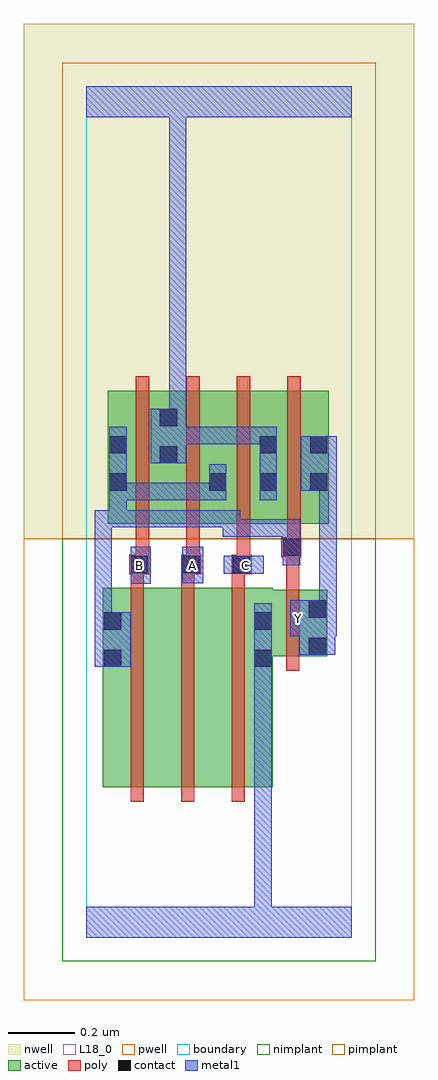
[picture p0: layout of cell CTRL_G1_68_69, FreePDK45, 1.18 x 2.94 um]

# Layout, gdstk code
import gdstk
lib = gdstk.Library(unit=1e-6, precision=1e-09)
def R(c, l, rs):  # rectangles x0, y0, x1, y1
    for r in rs: c.add(gdstk.rectangle(r[:2], r[2:], *l))
def A(c, l, x, y, w, h, nx, ny, dx, dy):  # array of equal rectangles
    R(c, l, [(x+i*dx, y+j*dy, x+i*dx+w, y+j*dy+h) for i in range(nx) for j in range(ny)])
active = (1, 0)
pwell = (2, 0)
nwell = (3, 0)
nimplant = (4, 0)
pimplant = (5, 0)
poly = (9, 0)
contact = (10, 0)
metal1 = (11, 0)
L18_0 = (18, 0)
boundary = (235, 0)

ctrl_g1_68_69 = lib.new_cell('CTRL_G1_68_69')
A(ctrl_g1_68_69, active, 0.366, 1.244, 0.06, 0.4, 3, 1, 0.152, 0)
R(ctrl_g1_68_69, active, [(0.05,0.452,0.23,1.052), (0.23,0.452,0.382,1.052), (0.382,0.452,0.562,1.052), (0.502,0.452,0.562,1.046), (0.05,0.556,0.11,1.052), (0.502,0.846,0.726,1.046), (0.666,0.846,0.726,1.046), (0.066,1.244,0.126,1.644), (0.066,1.244,0.278,1.644), (0.218,1.244,0.278,1.644), (0.218,1.244,0.426,1.644), (0.366,1.244,0.578,1.644), (0.518,1.244,0.73,1.644)])
R(ctrl_g1_68_69, pwell, [(-0.188,-0.188,0.988,1.2)])
R(ctrl_g1_68_69, nwell, [(-0.188,1.2,0.988,2.748)])
R(ctrl_g1_68_69, nimplant, [(-0.072,-0.072,0.872,1.2)])
R(ctrl_g1_68_69, pimplant, [(-0.072,1.2,0.872,2.632)])
A(ctrl_g1_68_69, poly, 0.134, 0.408, 0.04, 0.688, 3, 1, 0.152, 0)
A(ctrl_g1_68_69, poly, 0.134, 1.056, 0.04, 0.076, 3, 1, 0.152, 0)
A(ctrl_g1_68_69, poly, 0.15, 1.112, 0.04, 0.128, 3, 1, 0.152, 0)
A(ctrl_g1_68_69, poly, 0.15, 1.2, 0.04, 0.488, 4, 1, 0.152, 0)
R(ctrl_g1_68_69, poly, [(0.602,0.802,0.642,1.09), (0.602,1.05,0.642,1.184), (0.13,1.092,0.19,1.152), (0.286,1.092,0.346,1.152), (0.438,1.092,0.498,1.152), (0.15,1.112,0.19,1.152), (0.15,1.112,0.19,1.152), (0.302,1.112,0.342,1.152), (0.302,1.112,0.342,1.152), (0.454,1.112,0.494,1.152), (0.454,1.112,0.494,1.152), (0.588,1.144,0.648,1.204), (0.602,1.144,0.642,1.184), (0.602,1.144,0.642,1.184), (0.606,1.164,0.646,1.24)])
A(ctrl_g1_68_69, contact, 0.37, 1.344, 0.052, 0.052, 3, 1, 0.152, 0)
R(ctrl_g1_68_69, contact, [(0.054,0.814,0.106,0.866), (0.506,0.814,0.558,0.866), (0.67,0.85,0.722,0.902), (0.054,0.926,0.106,0.978), (0.506,0.926,0.558,0.978), (0.67,0.962,0.722,1.014), (0.134,1.096,0.186,1.148), (0.29,1.096,0.342,1.148), (0.442,1.096,0.494,1.148), (0.592,1.148,0.644,1.2), (0.07,1.344,0.122,1.396), (0.222,1.426,0.274,1.478), (0.07,1.456,0.122,1.508), (0.522,1.456,0.574,1.508), (0.674,1.456,0.726,1.508), (0.222,1.538,0.274,1.59)])
R(ctrl_g1_68_69, metal1, [(0,0,0.8,0.092), (0.506,0.04,0.558,0.838), (0.506,0.786,0.558,0.838), (0.506,0.786,0.558,0.838), (0.506,0.786,0.558,0.838), (0.506,0.786,0.558,0.838), (0.506,0.786,0.558,0.838), (0.506,0.786,0.558,0.838), (0.506,0.786,0.558,0.838), (0.506,0.786,0.558,0.838), (0.506,0.786,0.558,1.006), (0.026,0.814,0.134,0.978), (0.642,0.85,0.75,1.014), (0.614,0.906,0.754,1.014), (0.026,0.926,0.078,1.286), (0.642,0.962,0.694,1.014), (0.702,0.962,0.754,1.396), (0.702,0.962,0.754,1.014), (0.702,0.962,0.754,1.014), (0.134,1.064,0.194,1.176), (0.29,1.066,0.352,1.176), (0.414,1.094,0.534,1.148), (0.592,1.12,0.644,1.258), (0.412,1.206,0.548,1.258), (0.412,1.206,0.464,1.286), (0.496,1.206,0.548,1.258), (0.496,1.206,0.644,1.258), (0.026,1.234,0.078,1.286), (0.026,1.234,0.078,1.286), (0.026,1.234,0.122,1.286), (0.07,1.234,0.122,1.286), (0.07,1.234,0.122,1.286), (0.07,1.234,0.312,1.286), (0.07,1.234,0.122,1.368), (0.26,1.234,0.312,1.286), (0.26,1.234,0.312,1.286), (0.26,1.234,0.312,1.286), (0.26,1.234,0.438,1.286), (0.386,1.234,0.438,1.286), (0.386,1.234,0.464,1.286), (0.07,1.316,0.122,1.368), (0.07,1.316,0.122,1.368), (0.07,1.316,0.122,1.536), (0.07,1.316,0.232,1.368), (0.18,1.316,0.232,1.368), (0.18,1.316,0.232,1.368), (0.18,1.316,0.232,1.368), (0.18,1.316,0.422,1.368), (0.37,1.316,0.422,1.424), (0.522,1.316,0.574,1.536), (0.646,1.344,0.754,1.508), (0.194,1.426,0.302,1.59), (0.25,1.484,0.302,1.536), (0.25,1.484,0.302,1.536), (0.25,1.484,0.438,1.536), (0.386,1.484,0.438,1.536), (0.386,1.484,0.438,1.536), (0.386,1.484,0.438,1.536), (0.386,1.484,0.574,1.536), (0.25,1.538,0.302,1.59), (0.25,1.538,0.302,1.59), (0.25,1.538,0.302,1.59), (0.25,1.538,0.302,1.59), (0.25,1.538,0.302,1.59), (0.25,1.538,0.302,1.59), (0.25,1.538,0.302,1.59), (0.25,1.538,0.302,1.59), (0.25,1.538,0.302,1.59), (0.25,1.538,0.302,1.59), (0.25,1.538,0.302,1.59), (0.25,1.538,0.302,1.59), (0.25,1.538,0.302,1.59), (0.25,1.538,0.302,1.59), (0.25,1.538,0.302,1.59), (0.25,1.538,0.302,1.59), (0.25,1.538,0.302,2.52), (0,2.468,0.8,2.56)])
A(ctrl_g1_68_69, L18_0, 0.134, 1.094, 0.052, 0.052, 3, 1, 0.16, 0)
R(ctrl_g1_68_69, L18_0, [(0,0,0.8,0.092), (0.506,0.04,0.558,0.838), (0.506,0.786,0.558,0.838), (0.506,0.786,0.558,0.838), (0.506,0.786,0.558,0.838), (0.506,0.786,0.558,0.838), (0.506,0.786,0.558,0.838), (0.506,0.786,0.558,0.838), (0.506,0.786,0.558,0.838), (0.506,0.786,0.558,0.838), (0.506,0.786,0.558,1.006), (0.642,0.85,0.75,1.014), (0.614,0.906,0.754,1.014), (0.614,0.934,0.666,0.986), (0.642,0.962,0.694,1.014), (0.702,0.962,0.754,1.014), (0.702,0.962,0.754,1.014), (0.702,0.962,0.754,1.396), (0.134,1.064,0.194,1.176), (0.29,1.066,0.352,1.176), (0.414,1.094,0.534,1.148), (0.522,1.316,0.574,1.536), (0.646,1.344,0.754,1.508), (0.194,1.426,0.302,1.59), (0.25,1.484,0.302,1.536), (0.25,1.484,0.302,1.536), (0.25,1.484,0.438,1.536), (0.386,1.484,0.438,1.536), (0.386,1.484,0.438,1.536), (0.386,1.484,0.438,1.536), (0.386,1.484,0.574,1.536), (0.25,1.538,0.302,1.59), (0.25,1.538,0.302,1.59), (0.25,1.538,0.302,1.59), (0.25,1.538,0.302,1.59), (0.25,1.538,0.302,1.59), (0.25,1.538,0.302,1.59), (0.25,1.538,0.302,1.59), (0.25,1.538,0.302,1.59), (0.25,1.538,0.302,1.59), (0.25,1.538,0.302,1.59), (0.25,1.538,0.302,1.59), (0.25,1.538,0.302,1.59), (0.25,1.538,0.302,1.59), (0.25,1.538,0.302,1.59), (0.25,1.538,0.302,1.59), (0.25,1.538,0.302,1.59), (0.25,1.538,0.302,2.52), (0,2.468,0.8,2.56)])
R(ctrl_g1_68_69, boundary, [(0,0,0.8,2.56)])
ctrl_g1_68_69.add(gdstk.Label('A', (0.32,1.12), layer=11, texttype=0))
ctrl_g1_68_69.add(gdstk.Label('B', (0.16,1.12), layer=11, texttype=0))
ctrl_g1_68_69.add(gdstk.Label('C', (0.48,1.12), layer=11, texttype=0))
ctrl_g1_68_69.add(gdstk.Label('Y', (0.64,0.96), layer=11, texttype=0))

lib.write_gds('CTRL_G1_68_69.gds')
